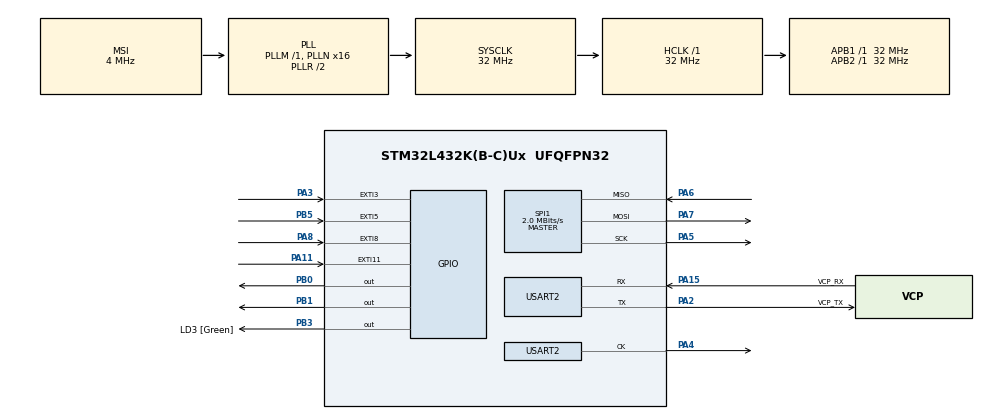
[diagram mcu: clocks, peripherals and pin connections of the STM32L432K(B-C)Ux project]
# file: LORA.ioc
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Mcu.Family=STM32L4
Mcu.Name=STM32L432K(B-C)Ux
Mcu.Package=UFQFPN32
NVIC.PriorityGroup=NVIC_PRIORITYGROUP_4
NVIC.USART2_IRQn=true\:0\:0\:false\:false\:true\:true\:true\:true
PA0.GPIO_Label=MCO [High speed clock in]
PA0.Mode=HSE-External-Clock-Source-for-LittleOrca
PA0.Signal=RCC_CK_IN
PA11.Signal=GPXTI11
PA13\ (JTMS-SWDIO).GPIO_Label=SWDIO
PA13\ (JTMS-SWDIO).Mode=Serial_Wire
PA13\ (JTMS-SWDIO).Signal=SYS_JTMS-SWDIO
PA14\ (JTCK-SWCLK).GPIO_Label=SWCLK
PA14\ (JTCK-SWCLK).Mode=Serial_Wire
PA14\ (JTCK-SWCLK).Signal=SYS_JTCK-SWCLK
PA15\ (JTDI).GPIO_Label=VCP_RX
PA15\ (JTDI).Mode=Synchronous
PA15\ (JTDI).Signal=USART2_RX
PA2.GPIO_Label=VCP_TX
PA2.Mode=Synchronous
PA2.Signal=USART2_TX
PA3.Signal=GPXTI3
PA4.Mode=Synchronous
PA4.Signal=USART2_CK
PA5.Mode=Full_Duplex_Master
PA5.Signal=SPI1_SCK
PA6.Mode=Full_Duplex_Master
PA6.Signal=SPI1_MISO
PA7.Mode=Full_Duplex_Master
PA7.Signal=SPI1_MOSI
PA8.Signal=GPXTI8
PB0.PinState=GPIO_PIN_SET
PB0.Signal=GPIO_Output
PB1.Signal=GPIO_Output
PB3\ (JTDO-TRACESWO).GPIO_Label=LD3 [Green]
PB3\ (JTDO-TRACESWO).Signal=GPIO_Output
PB5.Signal=GPXTI5
PC14-OSC32_IN\ (PC14).Mode=LSE-External-Oscillator
PC14-OSC32_IN\ (PC14).Signal=RCC_OSC32_IN
PC15-OSC32_OUT\ (PC15).Mode=LSE-External-Oscillator
PC15-OSC32_OUT\ (PC15).Signal=RCC_OSC32_OUT
ProjectManager.HeapSize=0x200
ProjectManager.StackSize=0x400
ProjectManager.TargetToolchain=STM32CubeIDE
RCC.AHBFreq_Value=32000000
RCC.APB1Freq_Value=32000000
RCC.APB1TimFreq_Value=32000000
RCC.APB2Freq_Value=32000000
RCC.APB2TimFreq_Value=32000000
RCC.CortexFreq_Value=32000000
RCC.HCLKFreq_Value=32000000
RCC.HSE_VALUE=8000000
RCC.HSI16_VALUE=16000000
RCC.HSI48_VALUE=48000000
RCC.HSI_VALUE=16000000
RCC.MSI_VALUE=4000000
RCC.PLLMUL=RCC_PLLMUL_4
RCC.PLLN=16
RCC.SYSCLKFreq_VALUE=32000000
RCC.SYSCLKSource=RCC_SYSCLKSOURCE_PLLCLK
RCC.VCOOutputFreq_Value=64000000
SPI1.BaudRatePrescaler=SPI_BAUDRATEPRESCALER_16
SPI1.CalculateBaudRate=2.0 MBits/s
SPI1.DataSize=SPI_DATASIZE_8BIT
SPI1.Direction=SPI_DIRECTION_2LINES
SPI1.Mode=SPI_MODE_MASTER
SPI1.VirtualType=VM_MASTER
USART2.VirtualMode-Synchronous=VM_SYNC
board=NUCLEO-L432KC

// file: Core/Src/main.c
/* USER CODE BEGIN Header */
/**
  ******************************************************************************
  * @file           : main.c
  * @brief          : Main program body
  ******************************************************************************
  * @attention
  *
  * Copyright (c) 2024 STMicroelectronics.
  * All rights reserved.
  *
  * This software is licensed under terms that can be found in the LICENSE file
  * in the root directory of this software component.
  * If no LICENSE file comes with this software, it is provided AS-IS.
  *
  ******************************************************************************
  */
/* USER CODE END Header */
#include "main.h"

/* USER CODE BEGIN Includes */
#include "lora.h"
#include <string.h>
#include <stdio.h>

/* USER CODE END Includes */

/* USER CODE BEGIN PD */
#define TX
//#define RX

/* USER CODE END PD */

SPI_HandleTypeDef hspi1;

USART_HandleTypeDef husart2;

/* USER CODE BEGIN PV */
lora_pins_t lora_pins;												// Structure variable for lora pins
lora_t lora;																	// Structure variable for lora

uint8_t temp = 30;
uint8_t rh = 65;
uint8_t co = 110;
char msg[64];
char buf[20];

/* USER CODE END PV */

void SystemClock_Config(void);
static void MX_GPIO_Init(void);
static void MX_USART2_Init(void);
static void MX_SPI1_Init(void);

int main(void)
{

  /* MCU Configuration--------------------------------------------------------*/

  /* Reset of all peripherals, Initializes the Flash interface and the Systick. */
  HAL_Init();

  /* Configure the system clock */
  SystemClock_Config();

  /* Initialize all configured peripherals */
  MX_GPIO_Init();
  MX_USART2_Init();
  MX_SPI1_Init();
  /* USER CODE BEGIN 2 */
  	lora_pins.dio0.port  = LORA_DIO0_PORT;
  	lora_pins.dio0.pin   = LORA_DIO0_PIN;
  	lora_pins.nss.port   = LORA_SS_PORT;				// NSS pin to which port is connected
  	lora_pins.nss.pin    = LORA_SS_PIN;					// NSS pin to which pin is connected
  	lora_pins.reset.port = LORA_RESET_PORT;			// RESET pin to which port is connected
  	lora_pins.reset.pin  = LORA_RESET_PIN;			// RESET pin to which pin is connected
  	lora_pins.spi  			 = &hspi1;

  	lora.pin = &lora_pins;
  	lora.frequency = FREQ_914MHZ;								// 914 MHZ Frequency

  	sprintf(msg,"Configuring LoRa module\r\n");
  	HAL_USART_Transmit(&husart2,(uint8_t *)msg,strlen(msg),1000);

  	while(lora_init(&lora)){										// Initialize the lora module
  			sprintf(msg,"LoRa Failed\r\n");
  			HAL_USART_Transmit(&husart2,(uint8_t *)msg,strlen(msg),1000);
  			HAL_Delay(1000);
  		}
  	sprintf(msg,"Done configuring LoRaModule\r\n");
  	HAL_USART_Transmit(&husart2,(uint8_t *)msg,strlen(msg),1000);

	#ifdef TX
	uint16_t count =0;
	sprintf(buf,"Data: %d, %d, %d", temp, rh, co);
	#else
	uint8_t ret;
	#endif
  /* USER CODE END 2 */

  /* Infinite loop */
  /* USER CODE BEGIN WHILE */
  while (1)
  {
		#ifdef TX
		lora_begin_packet(&lora);
		lora_tx(&lora, (uint8_t *)buf, strlen(buf));
		lora_end_packet(&lora);
		sprintf(msg,"Sending packet %d\r\n",count++);
		HAL_USART_Transmit(&husart2,(uint8_t *)msg,strlen(msg),1000);
		HAL_Delay(1000);
		#endif

		#ifdef RX
		ret = lora_prasePacket(&lora);
		if(ret){
			uint8_t i=0;
			while(lora_available(&lora)){
				buf[i] = lora_read(&lora);
				i++;
			}
			buf[i] = '\0';
			sprintf(msg,"%s\r\n",buf);
			HAL_USART_Transmit(&husart2,(uint8_t *)msg,strlen(msg),1000);
		}
		#endif

    /* USER CODE END WHILE */

  }
}

void SystemClock_Config(void)
{
  RCC_OscInitTypeDef RCC_OscInitStruct = {0};
  RCC_ClkInitTypeDef RCC_ClkInitStruct = {0};

  /** Configure the main internal regulator output voltage
  */
  if (HAL_PWREx_ControlVoltageScaling(PWR_REGULATOR_VOLTAGE_SCALE1) != HAL_OK)
  {
    Error_Handler();
  }

  /** Configure LSE Drive Capability
  */
  HAL_PWR_EnableBkUpAccess();
  __HAL_RCC_LSEDRIVE_CONFIG(RCC_LSEDRIVE_LOW);

  /** Initializes the RCC Oscillators according to the specified parameters
  * in the RCC_OscInitTypeDef structure.
  */
  RCC_OscInitStruct.OscillatorType = RCC_OSCILLATORTYPE_LSE|RCC_OSCILLATORTYPE_MSI;
  RCC_OscInitStruct.LSEState = RCC_LSE_ON;
  RCC_OscInitStruct.MSIState = RCC_MSI_ON;
  RCC_OscInitStruct.MSICalibrationValue = 0;
  RCC_OscInitStruct.MSIClockRange = RCC_MSIRANGE_6;
  RCC_OscInitStruct.PLL.PLLState = RCC_PLL_ON;
  RCC_OscInitStruct.PLL.PLLSource = RCC_PLLSOURCE_MSI;
  RCC_OscInitStruct.PLL.PLLM = 1;
  RCC_OscInitStruct.PLL.PLLN = 16;
  RCC_OscInitStruct.PLL.PLLP = RCC_PLLP_DIV7;
  RCC_OscInitStruct.PLL.PLLQ = RCC_PLLQ_DIV2;
  RCC_OscInitStruct.PLL.PLLR = RCC_PLLR_DIV2;
  if (HAL_RCC_OscConfig(&RCC_OscInitStruct) != HAL_OK)
  {
    Error_Handler();
  }

  /** Initializes the CPU, AHB and APB buses clocks
  */
  RCC_ClkInitStruct.ClockType = RCC_CLOCKTYPE_HCLK|RCC_CLOCKTYPE_SYSCLK
                              |RCC_CLOCKTYPE_PCLK1|RCC_CLOCKTYPE_PCLK2;
  RCC_ClkInitStruct.SYSCLKSource = RCC_SYSCLKSOURCE_PLLCLK;
  RCC_ClkInitStruct.AHBCLKDivider = RCC_SYSCLK_DIV1;
  RCC_ClkInitStruct.APB1CLKDivider = RCC_HCLK_DIV1;
  RCC_ClkInitStruct.APB2CLKDivider = RCC_HCLK_DIV1;

  if (HAL_RCC_ClockConfig(&RCC_ClkInitStruct, FLASH_LATENCY_1) != HAL_OK)
  {
    Error_Handler();
  }

  /** Enable MSI Auto calibration
  */
  HAL_RCCEx_EnableMSIPLLMode();
}

static void MX_SPI1_Init(void)
{

  /* SPI1 parameter configuration*/
  hspi1.Instance = SPI1;
  hspi1.Init.Mode = SPI_MODE_MASTER;
  hspi1.Init.Direction = SPI_DIRECTION_2LINES;
  hspi1.Init.DataSize = SPI_DATASIZE_8BIT;
  hspi1.Init.CLKPolarity = SPI_POLARITY_LOW;
  hspi1.Init.CLKPhase = SPI_PHASE_1EDGE;
  hspi1.Init.NSS = SPI_NSS_SOFT;
  hspi1.Init.BaudRatePrescaler = SPI_BAUDRATEPRESCALER_16;
  hspi1.Init.FirstBit = SPI_FIRSTBIT_MSB;
  hspi1.Init.TIMode = SPI_TIMODE_DISABLE;
  hspi1.Init.CRCCalculation = SPI_CRCCALCULATION_DISABLE;
  hspi1.Init.CRCPolynomial = 7;
  hspi1.Init.CRCLength = SPI_CRC_LENGTH_DATASIZE;
  hspi1.Init.NSSPMode = SPI_NSS_PULSE_ENABLE;
  if (HAL_SPI_Init(&hspi1) != HAL_OK)
  {
    Error_Handler();
  }

}

static void MX_USART2_Init(void)
{

  husart2.Instance = USART2;
  husart2.Init.BaudRate = 115200;
  husart2.Init.WordLength = USART_WORDLENGTH_8B;
  husart2.Init.StopBits = USART_STOPBITS_1;
  husart2.Init.Parity = USART_PARITY_NONE;
  husart2.Init.Mode = USART_MODE_TX_RX;
  husart2.Init.CLKPolarity = USART_POLARITY_LOW;
  husart2.Init.CLKPhase = USART_PHASE_1EDGE;
  husart2.Init.CLKLastBit = USART_LASTBIT_DISABLE;
  if (HAL_USART_Init(&husart2) != HAL_OK)
  {
    Error_Handler();
  }

}

static void MX_GPIO_Init(void)
{
  GPIO_InitTypeDef GPIO_InitStruct = {0};

  /* GPIO Ports Clock Enable */
  __HAL_RCC_GPIOC_CLK_ENABLE();
  __HAL_RCC_GPIOA_CLK_ENABLE();
  __HAL_RCC_GPIOB_CLK_ENABLE();

  /*Configure GPIO pin Output Level */
  HAL_GPIO_WritePin(GPIOB, GPIO_PIN_0, GPIO_PIN_SET);

  /*Configure GPIO pin Output Level */
  HAL_GPIO_WritePin(GPIOB, GPIO_PIN_1|LD3_Pin, GPIO_PIN_RESET);

  /*Configure GPIO pins : PA3 PA8 PA11 */
  GPIO_InitStruct.Pin = GPIO_PIN_3|GPIO_PIN_8|GPIO_PIN_11;
  GPIO_InitStruct.Mode = GPIO_MODE_IT_RISING;
  GPIO_InitStruct.Pull = GPIO_NOPULL;
  HAL_GPIO_Init(GPIOA, &GPIO_InitStruct);

  /*Configure GPIO pins : PB0 PB1 LD3_Pin */
  GPIO_InitStruct.Pin = GPIO_PIN_0|GPIO_PIN_1|LD3_Pin;
  GPIO_InitStruct.Mode = GPIO_MODE_OUTPUT_PP;
  GPIO_InitStruct.Pull = GPIO_NOPULL;
  GPIO_InitStruct.Speed = GPIO_SPEED_FREQ_LOW;
  HAL_GPIO_Init(GPIOB, &GPIO_InitStruct);

  /*Configure GPIO pin : PB5 */
  GPIO_InitStruct.Pin = GPIO_PIN_5;
  GPIO_InitStruct.Mode = GPIO_MODE_IT_RISING;
  GPIO_InitStruct.Pull = GPIO_NOPULL;
  HAL_GPIO_Init(GPIOB, &GPIO_InitStruct);

}

void Error_Handler(void)
{
  __disable_irq();
  while (1)
  {
  }
}
